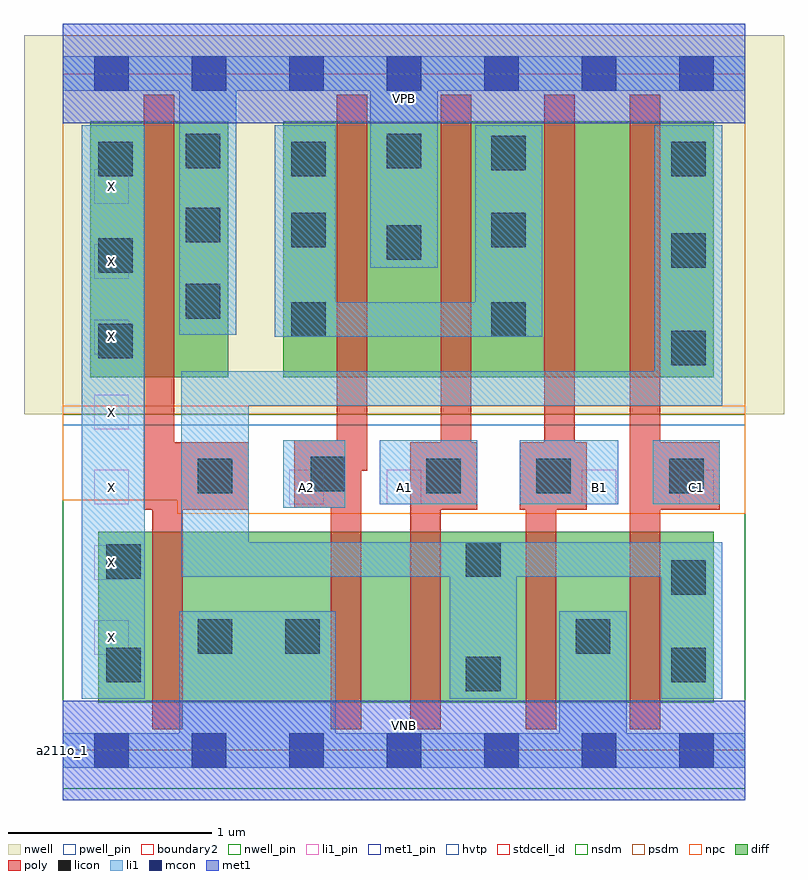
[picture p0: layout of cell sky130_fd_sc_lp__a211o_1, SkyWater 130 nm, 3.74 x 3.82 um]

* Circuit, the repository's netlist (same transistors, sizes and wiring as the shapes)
* Copyright 2020 The SkyWater PDK Authors
*
* Licensed under the Apache License, Version 2.0 (the "License");
* you may not use this file except in compliance with the License.
* You may obtain a copy of the License at
*
*     https://www.apache.org/licenses/LICENSE-2.0
*
* Unless required by applicable law or agreed to in writing, software
* distributed under the License is distributed on an "AS IS" BASIS,
* WITHOUT WARRANTIES OR CONDITIONS OF ANY KIND, either express or implied.
* See the License for the specific language governing permissions and
* limitations under the License.
*
* SPDX-License-Identifier: Apache-2.0

.SUBCKT sky130_fd_sc_lp__a211o_1 A1 A2 B1 C1 VGND VNB VPB VPWR X
*.PININFO A1:I A2:I B1:I C1:I VGND:I VNB:I VPB:I VPWR:I X:O
MMPA0 pndA A1 VPWR VPB sky130_fd_pr__pfet_01v8_hvt m=1 w=1.26U l=0.15U mult=1 sa=0.265
+ sb=0.265 sd=0.28 area=0.063 perim=1.14
MMPA1 pndA A2 VPWR VPB sky130_fd_pr__pfet_01v8_hvt m=1 w=1.26U l=0.15U mult=1 sa=0.265
+ sb=0.265 sd=0.28 area=0.063 perim=1.14
MMPB0 pndB B1 pndA VPB sky130_fd_pr__pfet_01v8_hvt m=1 w=1.26U l=0.15U mult=1 sa=0.265
+ sb=0.265 sd=0.28 area=0.063 perim=1.14
MMPC0 y C1 pndB VPB sky130_fd_pr__pfet_01v8_hvt m=1 w=1.26U l=0.15U mult=1 sa=0.265
+ sb=0.265 sd=0.28 area=0.063 perim=1.14
MMIPX X y VPWR VPB sky130_fd_pr__pfet_01v8_hvt m=1 w=1.26U l=0.15U mult=1 sa=0.265
+ sb=0.265 sd=0.28 area=0.063 perim=1.14
MMNA0 y A1 sndA1 VNB sky130_fd_pr__nfet_01v8 m=1 w=0.84U l=0.15U mult=1 sa=0.265
+ sb=0.265 sd=0.28 area=0.063 perim=1.14
MMNA1 sndA1 A2 VGND VNB sky130_fd_pr__nfet_01v8 m=1 w=0.84U l=0.15U mult=1 sa=0.265
+ sb=0.265 sd=0.28 area=0.063 perim=1.14
MMNB0 y B1 VGND VNB sky130_fd_pr__nfet_01v8 m=1 w=0.84U l=0.15U mult=1 sa=0.265
+ sb=0.265 sd=0.28 area=0.063 perim=1.14
MMNC0 y C1 VGND VNB sky130_fd_pr__nfet_01v8 m=1 w=0.84U l=0.15U mult=1 sa=0.265
+ sb=0.265 sd=0.28 area=0.063 perim=1.14
MMINX X y VGND VNB sky130_fd_pr__nfet_01v8 m=1 w=0.84U l=0.15U mult=1 sa=0.265
+ sb=0.265 sd=0.28 area=0.063 perim=1.14
.ENDS sky130_fd_sc_lp__a211o_1

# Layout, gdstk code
import gdstk
lib = gdstk.Library(unit=1e-6, precision=1e-09)
def R(c, l, rs):  # rectangles x0, y0, x1, y1
    for r in rs: c.add(gdstk.rectangle(r[:2], r[2:], *l))
def A(c, l, x, y, w, h, nx, ny, dx, dy):  # array of equal rectangles
    R(c, l, [(x+i*dx, y+j*dy, x+i*dx+w, y+j*dy+h) for i in range(nx) for j in range(ny)])
def P(c, l, *ps):  # polygons
    for p in ps: c.add(gdstk.Polygon(p, *l))
nwell_pin = (64, 16)
nwell = (64, 20)
diff = (65, 20)
poly = (66, 20)
licon = (66, 44)
li1_pin = (67, 16)
li1 = (67, 20)
mcon = (67, 44)
met1_pin = (68, 16)
met1 = (68, 20)
hvtp = (78, 44)
stdcell_id = (81, 4)
nsdm = (93, 44)
psdm = (94, 20)
npc = (95, 20)
pwell_pin = (122, 16)
boundary2 = (236, 0)

sky130_fd_sc_lp__a211o_1 = lib.new_cell('sky130_fd_sc_lp__a211o_1')
R(sky130_fd_sc_lp__a211o_1, nwell_pin, [(0,3.085,3.36,3.33)])
R(sky130_fd_sc_lp__a211o_1, nwell, [(-0.19,1.655,3.55,3.52)])
R(sky130_fd_sc_lp__a211o_1, diff, [(0.175,0.235,3.205,1.075), (0.135,1.835,0.815,3.095), (1.085,1.835,3.205,3.095)])
P(sky130_fd_sc_lp__a211o_1, poly, [(0.915,1.515),(0.55,1.515),(0.55,3.225),(0.4,3.225),(0.4,1.185),(0.44,1.185),(0.44,0.105),(0.59,0.105),(0.59,1.185),(0.915,1.185)],
  [(1.5,3.225),(1.35,3.225),(1.35,1.525),(1.14,1.525),(1.14,1.195),(1.32,1.195),(1.32,0.105),(1.47,0.105),(1.47,1.375),(1.5,1.375)],
  [(2.04,1.515),(2.01,1.515),(2.01,3.225),(1.86,3.225),(1.86,1.515),(1.71,1.515),(1.71,0.105),(1.86,0.105),(1.86,1.185),(2.04,1.185)],
  [(2.58,1.515),(2.52,1.515),(2.52,3.225),(2.37,3.225),(2.37,1.515),(2.25,1.515),(2.25,1.185),(2.28,1.185),(2.28,0.105),(2.43,0.105),(2.43,1.185),(2.58,1.185)],
  [(3.235,1.515),(2.94,1.515),(2.94,3.225),(2.79,3.225),(2.79,0.105),(2.94,0.105),(2.94,1.185),(3.235,1.185)])
R(sky130_fd_sc_lp__a211o_1, licon, [(1.985,0.29,2.155,0.46), (0.215,0.335,0.385,0.505), (2.995,0.335,3.165,0.505), (0.665,0.475,0.835,0.645), (1.095,0.475,1.265,0.645), (2.525,0.475,2.695,0.645), (2.995,0.765,3.165,0.935), (0.215,0.845,0.385,1.015), (1.985,0.855,2.155,1.025), (0.665,1.265,0.835,1.435), (1.79,1.265,1.96,1.435), (2.33,1.265,2.5,1.435), (2.985,1.265,3.155,1.435), (1.22,1.275,1.39,1.445), (2.995,1.895,3.165,2.065), (0.175,1.93,0.345,2.1), (1.125,2.035,1.295,2.205), (2.11,2.035,2.28,2.205), (0.605,2.125,0.775,2.295), (0.175,2.35,0.345,2.52), (2.995,2.375,3.165,2.545), (1.595,2.415,1.765,2.585), (1.125,2.475,1.295,2.645), (2.11,2.475,2.28,2.645), (0.605,2.5,0.775,2.67), (0.175,2.825,0.345,2.995), (1.125,2.825,1.295,2.995), (2.995,2.825,3.165,2.995), (2.11,2.855,2.28,3.025), (0.605,2.865,0.775,3.035), (1.595,2.865,1.765,3.035)])
A(sky130_fd_sc_lp__a211o_1, li1_pin, 0.155, 0.47, 0.17, 0.17, 1, 7, 0, 0.37)
R(sky130_fd_sc_lp__a211o_1, li1_pin, [(1.115,1.21,1.285,1.38), (1.595,1.21,1.765,1.38), (2.555,1.21,2.725,1.38), (3.035,1.21,3.205,1.38)])
R(sky130_fd_sc_lp__a211o_1, li1, [(0.095,0.255,0.405,3.075), (1.085,1.195,1.39,1.525), (1.56,1.21,2.04,1.525), (2.25,1.21,2.735,1.525), (2.905,1.21,3.235,1.525)])
P(sky130_fd_sc_lp__a211o_1, li1, [(0.575,2.045),(0.575,3.245),(0,3.245),(0,3.415),(3.36,3.415),(3.36,3.245),(1.845,3.245),(1.845,2.375),(1.515,2.375),(1.515,3.245),(0.855,3.245),(0.855,2.045)],
  [(2.445,0.085),(2.445,0.685),(2.775,0.685),(2.775,0.085),(3.36,0.085),(3.36,-0.085),(0,-0.085),(0,0.085),(0.575,0.085),(0.575,0.685),(1.345,0.685),(1.345,0.085)],
  [(0.585,1.865),(2.915,1.865),(2.915,3.075),(3.245,3.075),(3.245,1.695),(0.915,1.695),(0.915,1.025),(3.245,1.025),(3.245,0.255),(2.945,0.255),(2.945,0.855),(2.235,0.855),(2.235,0.255),(1.905,0.255),(1.905,0.855),(0.585,0.855)],
  [(1.345,2.205),(2.03,2.205),(2.03,3.075),(2.36,3.075),(2.36,2.035),(1.045,2.035),(1.045,3.075),(1.345,3.075)])
A(sky130_fd_sc_lp__a211o_1, mcon, 0.155, -0.085, 0.17, 0.17, 7, 2, 0.48, 3.33)
R(sky130_fd_sc_lp__a211o_1, met1_pin, [(0,0,3.36,0.245), (0,3.085,3.36,3.33)])
R(sky130_fd_sc_lp__a211o_1, met1, [(0,-0.245,3.36,0.245), (0,3.085,3.36,3.575)])
R(sky130_fd_sc_lp__a211o_1, hvtp, [(0,1.6,3.36,3.33)])
R(sky130_fd_sc_lp__a211o_1, stdcell_id, [(0,0,3.36,3.33)])
R(sky130_fd_sc_lp__a211o_1, nsdm, [(0,-0.19,3.36,1.655)])
R(sky130_fd_sc_lp__a211o_1, psdm, [(0,1.655,3.36,3.52)])
P(sky130_fd_sc_lp__a211o_1, npc, [(3.36,1.695),(0,1.695),(0,1.23),(0.565,1.23),(0.565,1.165),(3.36,1.165)])
R(sky130_fd_sc_lp__a211o_1, pwell_pin, [(0,0,3.36,0.245)])
R(sky130_fd_sc_lp__a211o_1, boundary2, [(0,0,3.36,3.33)])
sky130_fd_sc_lp__a211o_1.add(gdstk.Label('VNB', (1.68,0.123), layer=64, texttype=59))
sky130_fd_sc_lp__a211o_1.add(gdstk.Label('VPB', (1.68,3.208), layer=64, texttype=5))
sky130_fd_sc_lp__a211o_1.add(gdstk.Label('a211o_1', (0,0), layer=83, texttype=44))
sky130_fd_sc_lp__a211o_1.add(gdstk.Label('VPWR', (1.68,3.208), layer=68, texttype=5))
sky130_fd_sc_lp__a211o_1.add(gdstk.Label('VGND', (1.68,0.123), layer=68, texttype=5))
sky130_fd_sc_lp__a211o_1.add(gdstk.Label('A1', (1.68,1.295), layer=67, texttype=5))
sky130_fd_sc_lp__a211o_1.add(gdstk.Label('B1', (2.64,1.295), layer=67, texttype=5))
sky130_fd_sc_lp__a211o_1.add(gdstk.Label('C1', (3.12,1.295), layer=67, texttype=5))
sky130_fd_sc_lp__a211o_1.add(gdstk.Label('X', (0.24,0.555), layer=67, texttype=5))
sky130_fd_sc_lp__a211o_1.add(gdstk.Label('X', (0.24,0.925), layer=67, texttype=5))
sky130_fd_sc_lp__a211o_1.add(gdstk.Label('X', (0.24,1.295), layer=67, texttype=5))
sky130_fd_sc_lp__a211o_1.add(gdstk.Label('X', (0.24,1.665), layer=67, texttype=5))
sky130_fd_sc_lp__a211o_1.add(gdstk.Label('X', (0.24,2.035), layer=67, texttype=5))
sky130_fd_sc_lp__a211o_1.add(gdstk.Label('X', (0.24,2.405), layer=67, texttype=5))
sky130_fd_sc_lp__a211o_1.add(gdstk.Label('X', (0.24,2.775), layer=67, texttype=5))
sky130_fd_sc_lp__a211o_1.add(gdstk.Label('A2', (1.2,1.295), layer=67, texttype=5))

lib.write_gds('sky130_fd_sc_lp__a211o_1.gds')
